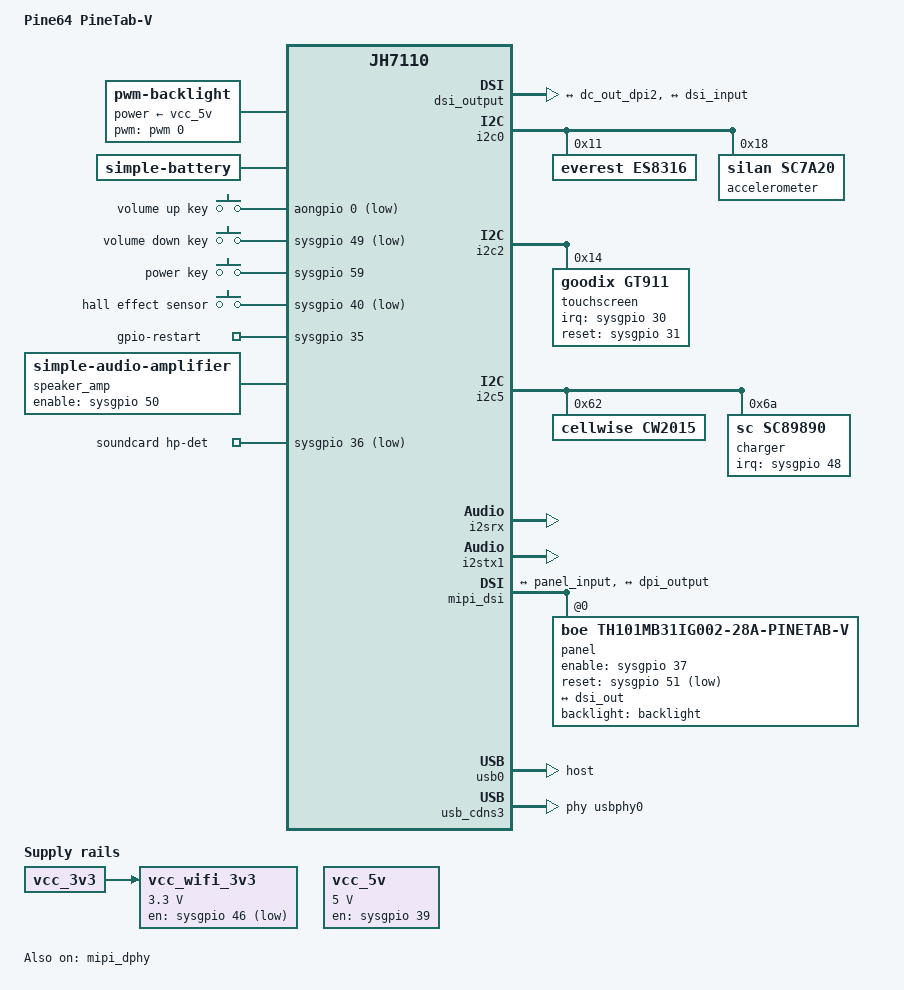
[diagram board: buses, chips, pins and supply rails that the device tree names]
// SPDX-License-Identifier: GPL-2.0 OR MIT
/*
 * Copyright (C) 2025 Icenowy Zheng <uwu@icenowy.me>
 */

/dts-v1/;
#include "jh7110-common.dtsi"
#include <dt-bindings/input/linux-event-codes.h>
#include <dt-bindings/pwm/pwm.h>

/ {
	model = "Pine64 PineTab-V";
	compatible = "pine64,pinetab-v", "starfive,jh7110";

	backlight: backlight {
		compatible = "pwm-backlight";
		pwms = <&pwm 0 50000 PWM_POLARITY_INVERTED>;
		brightness-levels = <10 9 8 7 6 5 4 3 2 1 0>;
		default-brightness-level = <6>;
		status = "okay";
		power-supply = <&vcc_5v>;
	};

	bat: battery {
		compatible = "simple-battery";
		charge-full-design-microamp-hours = <9800000>;
		voltage-max-design-microvolt = <4350000>;
		voltage-min-design-microvolt = <3000000>;
	};

	gpio_keys: gpio-keys {
		status = "okay";
		compatible = "gpio-keys";
		autorepeat;

		key-vol-up {
			label = "volume up key";
			debounce-interval = <10>;
			linux,input-type = <EV_KEY>;
			linux,code = <KEY_VOLUMEUP>;
			gpios = <&aongpio 0 GPIO_ACTIVE_LOW>;
		};

		key-vol-down {
			label = "volume down key";
			debounce-interval = <10>;
			linux,input-type = <EV_KEY>;
			linux,code = <KEY_VOLUMEDOWN>;
			gpios = <&sysgpio 49 GPIO_ACTIVE_LOW>;
		};

		key-power {
			label = "power key";
			debounce-interval = <10>;
			linux,input-type = <EV_KEY>;
			linux,code = <KEY_POWER>;
			gpios = <&sysgpio 59 GPIO_ACTIVE_HIGH>;
		};

		switch-hall-sensor {
			label = "hall effect sensor";
			debounce-interval = <10>;
			linux,input-type = <EV_SW>;
			linux,code = <SW_TABLET_MODE>;
			gpios = <&sysgpio 40 GPIO_ACTIVE_LOW>;
		};
	};

	gpio-restart {
		compatible = "gpio-restart";
		gpios = <&sysgpio 35 GPIO_ACTIVE_HIGH>;
		priority = <160>;
	};

	vcc_5v: regulator-vcc-5v {
		compatible = "regulator-fixed";
		enable-active-high;
		gpio = <&sysgpio 39 GPIO_ACTIVE_HIGH>;
		regulator-boot-on;
		regulator-always-on;
		regulator-name = "vcc-5v";
		regulator-min-microvolt = <5000000>;
		regulator-max-microvolt = <5000000>;
	};

	vcc_wifi_3v3: vcc-wifi_3v3{
		compatible = "regulator-fixed";
		enable-active-low;
		gpio = <&sysgpio 46 GPIO_ACTIVE_LOW>;
		regulator-boot-on;
		regulator-always-on;
		regulator-name = "wifi_3v3";
		regulator-min-microvolt = <3300000>;
		regulator-max-microvolt = <3300000>;
		vin-supply = <&vcc_3v3>;
	};

	speaker_amp: speaker-amplifier {
		compatible = "simple-audio-amplifier";
		enable-gpios = <&sysgpio 50 GPIO_ACTIVE_HIGH>;
		sound-name-prefix = "Speaker Amplifier";
	};

	soundcard: snd-card1 {
		compatible = "simple-audio-card";
		#address-cells = <1>;
		#size-cells = <0>;

		simple-audio-card,name = "PineTab-V";
		simple-audio-card,format = "i2s";
		simple-audio-card,bitclock-master = <&soundcard_codec>;
		simple-audio-card,frame-master = <&soundcard_codec>;

		simple-audio-card,widgets =
			"Microphone", "Internal Mic",
			"Microphone", "Headset Mic",
			"Headphone", "Headphones",
			"Speaker", "Speaker";
		simple-audio-card,routing =
			"MIC1", "Headset Mic",
			"MIC2", "Internal Mic",
			"Headphones", "HPOL",
			"Headphones", "HPOR",
			"Speaker Amplifier INL", "HPOL",
			"Speaker Amplifier INR", "HPOR",
			"Speaker", "Speaker Amplifier OUTL",
			"Speaker", "Speaker Amplifier OUTR";

		simple-audio-card,hp-det-gpio = <&sysgpio 36 GPIO_ACTIVE_LOW>;
		simple-audio-card,aux-devs = <&speaker_amp>;
		simple-audio-card,pin-switches = "Speaker";

		simple-audio-card,cpu@0 {
			reg = <0>;
			sound-dai = <&i2srx>;
		};

		simple-audio-card,cpu@1 {
			reg = <1>;
			sound-dai = <&i2stx1>;
		};

		soundcard_codec: simple-audio-card,codec {
			sound-dai = <&es8316>;
			clocks = <&mclk_ext>;
			clock-names = "mclk";
		};
	};
};

&dc_out {
	dc_out_dpi2: endpoint@2 {
		reg = <2>;
		remote-endpoint = <&mipi_in>;
	};
};

&dsi_output {
	status = "okay";

	ports {
		#address-cells = <1>;
		#size-cells = <0>;

		port@0 {
			reg = <0>;
			mipi_in: endpoint {
				remote-endpoint = <&dc_out_dpi2>;
			};
		};

		port@1 {
			reg = <1>;
			dpi_output: endpoint {
				remote-endpoint = <&dsi_input>;
			};
		};
	};
};

&gmac0 {
	status = "disabled";
};

&i2c0 {
	es8316: audio-codec@11 {
		pinctrl-0 = <&mclk_ext_pins>;
		pinctrl-names = "default";
		compatible = "everest,es8316";
		reg = <0x11>;
		clocks = <&mclk_ext>;
		clock-names = "mclk";
		#sound-dai-cells = <0>;
	};

	accelerometer@18 {
		compatible = "silan,sc7a20";
		reg = <0x18>;
		mount-matrix =	 "-1",  "0",  "0",
				  "0",  "0", "-1",
				  "0",  "1",  "0";
	};
};

&i2c2 {
	touchscreen@14 {
		status = "okay";
		compatible = "goodix,gt911";
		reg = <0x14>;
		irq-gpios = <&sysgpio 30 GPIO_ACTIVE_HIGH>;
		reset-gpios = <&sysgpio 31 GPIO_ACTIVE_HIGH>;
	};
};

&i2c5 {
	cw2015@62 {
		status = "okay";
		compatible = "cellwise,cw2015";
		reg = <0x62>;
		cellwise,battery-profile = /bits/ 8
			<0x17 0x67 0x63 0x64 0x63 0x62 0x61 0x5E
			 0x59 0x61 0x55 0x57 0x60 0x50 0x43 0x3C
			 0x33 0x2D 0x27 0x24 0x26 0x2D 0x39 0x47
			 0x44 0x11 0x0E 0x15 0x20 0x41 0x48 0x55
			 0x59 0x5B 0x60 0x60 0x3F 0x19 0x6A 0x4A
			 0x0B 0x1B 0x2D 0x57 0x8B 0x93 0x96 0x13
			 0x2E 0x56 0xA3 0xCA 0x80 0x6A 0x99 0xCB
			 0x2F 0x00 0x64 0xA5 0xB5 0x11 0xF0 0x31>;
		cellwise,monitor-interval-ms = <5000>;
		monitored-battery = <&bat>;
		power-supplies = <&charger>;
	};

	charger: sc89890@6a {
		compatible = "sc,sc89890";
		status = "okay";
		reg = <0x6a>;
		interrupt-parent = <&sysgpio>;
		interrupts = <48 IRQ_TYPE_EDGE_FALLING>;
		ti,battery-regulation-voltage = <4350000>;
		ti,charge-current = <2000000>;
		ti,termination-current = <300000>;
		ti,precharge-current = <128000>;
		ti,minimum-sys-voltage = <3400000>;
		ti,boost-voltage = <5000000>;
		ti,boost-max-current = <1500000>;
		ti,use-ilim-pin = <0>;
		ti,input-current-limit = <2000000>;
		monitored-battery = <&bat>;
	};
};

&i2srx {
	pinctrl-names = "default";
	pinctrl-0 = <&i2srx_pins>;
	status = "okay";
};

&i2stx1 {
	pinctrl-names = "default";
	pinctrl-0 = <&i2stx1_pins>;
	status = "okay";
};

&mipi_dsi {
	#address-cells = <1>;
	#size-cells = <0>;
	status = "okay";

	panel: panel@0 {
		status = "okay";
		compatible ="boe,th101mb31ig002-28a-pinetab-v";
		reg = <0x0>;
		enable-gpio = <&sysgpio 37 GPIO_ACTIVE_HIGH>;
		reset-gpio = <&sysgpio 51 GPIO_ACTIVE_LOW>;
		backlight = <&backlight>;
		rotation = <90>;

		port {
			panel_input: endpoint {
				remote-endpoint = <&dsi_out>;
			};
		};
	};

	ports {
		#address-cells = <1>;
		#size-cells = <0>;

		port@0 {
			reg = <0>;
			#address-cells = <1>;
			#size-cells = <0>;

			dsi_out: endpoint {
				remote-endpoint = <&panel_input>;
			};
		};

		port@1{
			reg = <1>;
			dsi_input: endpoint {
				remote-endpoint = <&dpi_output>;
			};
		};

	};
};

&mipi_dphy {
	status = "okay";
};

&pwm_pins {
	pwm-pins {
		pinmux = <GPIOMUX(45, GPOUT_SYS_PWM_CHANNEL0,
				      GPOEN_SYS_PWM0_CHANNEL0,
				      GPI_NONE)>;
		bias-disable;
		drive-strength = <12>;
		input-disable;
		input-schmitt-disable;
		slew-rate = <0>;
	};
};

&pwmdac {
	status = "disabled";
};

&sysgpio {
	i2srx_pins: i2srx-0 {
		clk-sd-pins {
			pinmux = <GPIOMUX(38, GPOUT_LOW,
					      GPOEN_DISABLE,
					      GPI_SYS_I2SRX_BCLK)>,
				 <GPIOMUX(63, GPOUT_LOW,
					      GPOEN_DISABLE,
					      GPI_SYS_I2SRX_LRCK)>,
				 <GPIOMUX(38, GPOUT_LOW,
					      GPOEN_DISABLE,
					      GPI_SYS_I2STX1_BCLK)>,
				 <GPIOMUX(63, GPOUT_LOW,
					      GPOEN_DISABLE,
					      GPI_SYS_I2STX1_LRCK)>,
				 <GPIOMUX(61, GPOUT_LOW,
					      GPOEN_DISABLE,
					      GPI_SYS_I2SRX_SDIN0)>;
			input-enable;
		};
	};

	i2stx1_pins: i2stx1-0 {
		sd-pins {
			pinmux = <GPIOMUX(44, GPOUT_SYS_I2STX1_SDO0,
					      GPOEN_ENABLE,
					      GPI_NONE)>;
			bias-disable;
			input-disable;
		};
	};

	mclk_ext_pins: mclk-ext-0 {
		mclk-ext-pins {
			pinmux = <GPIOMUX(4, GPOUT_LOW,
					     GPOEN_DISABLE,
					     GPI_SYS_MCLK_EXT)>;
			input-enable;
		};
	};

	usb0_pins: usb0-0 {
		usb0-pins {
			pinmux = <GPIOMUX(PAD_INTERNAL_HIGH,
					  GPOUT_LOW,
					  GPOEN_DISABLE,
					  GPI_SYS_USB_OVERCURRENT)>;
		};
	};
};

&usb0 {
	pinctrl-0 = <&usb0_pins>;
	pinctrl-names = "default";
	dr_mode = "host";
	status = "okay";
};

&usb_cdns3 {
	phys = <&usbphy0>, <&pciephy0>;
	phy-names = "cdns3,usb2-phy", "cdns3,usb3-phy";
};
